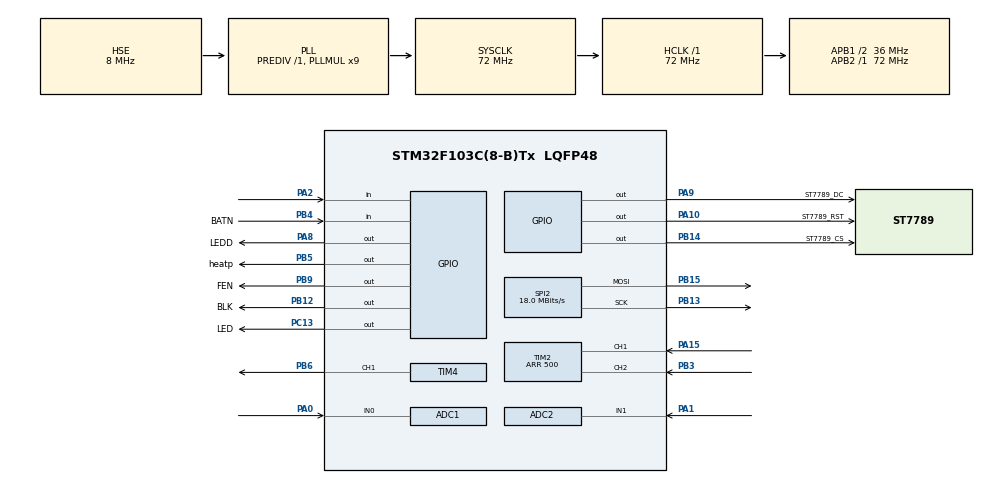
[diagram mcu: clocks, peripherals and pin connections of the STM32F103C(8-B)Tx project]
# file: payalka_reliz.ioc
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Mcu.Family=STM32F1
SPI2.VirtualType=VM_MASTER
ADC1.ContinuousConvMode=ENABLE
ADC2.Channel-0\#ChannelRegularConversion=ADC_CHANNEL_1
PA10.GPIO_PuPd=GPIO_PULLUP
PB14.GPIO_Label=ST7789_CS
TIM2.EncoderMode=TIM_ENCODERMODE_TI12
PB13.Signal=SPI2_SCK
PB15.Signal=SPI2_MOSI
RCC.SYSCLKSource=RCC_SYSCLKSOURCE_PLLCLK
ProjectManager.StackSize=0x400
PD1-OSC_OUT.Signal=RCC_OSC_OUT
PB4.GPIO_Mode=GPIO_MODE_INPUT
PA10.PinState=GPIO_PIN_RESET
RCC.HCLKFreq_Value=72000000
RCC.APB2TimFreq_Value=72000000
TIM4.Pulse-PWM\ Generation1\ CH1=0
PB6.Signal=S_TIM4_CH1
PB5.PinState=GPIO_PIN_SET
RCC.AHBFreq_Value=72000000
SPI2.BaudRatePrescaler=SPI_BAUDRATEPRESCALER_2
ADC1.Channel-0\#ChannelRegularConversion=ADC_CHANNEL_0
RCC.PLLMUL=RCC_PLL_MUL9
PB12.GPIO_Label=BLK
PC13-TAMPER-RTC.PinState=GPIO_PIN_SET
PA14.Mode=Serial_Wire
PA10.GPIO_Label=ST7789_RST
SPI2.CalculateBaudRate=18.0 MBits/s
PA8.Signal=GPIO_Output
SH.ADCx_IN0.0=ADC1_IN0,IN0
TIM4.Period=6000
ADC1.SamplingTime-0\#ChannelRegularConversion=ADC_SAMPLETIME_1CYCLE_5
Mcu.Package=LQFP48
PB9.Signal=GPIO_Output
PB14.GPIO_PuPd=GPIO_NOPULL
SPI2.Mode=SPI_MODE_MASTER
TIM2.IC1Polarity=TIM_ICPOLARITY_RISING
PA10.Signal=GPIO_Output
PA15.Signal=S_TIM2_CH1_ETR
ADC2.SamplingTime-0\#ChannelRegularConversion=ADC_SAMPLETIME_1CYCLE_5
PA10.GPIO_Speed=GPIO_SPEED_FREQ_HIGH
SH.ADCx_IN1.0=ADC2_IN1,IN1
PB5.GPIO_Label=heatp
SH.S_TIM4_CH1.0=TIM4_CH1,PWM Generation1 CH1
RCC.APB1TimFreq_Value=72000000
SPI2.Direction=SPI_DIRECTION_2LINES
PB13.Mode=TX_Only_Simplex_Unidirect_Master
ADC2.Rank-0\#ChannelRegularConversion=1
TIM2.IC1Prescaler=TIM_ICPSC_DIV1
PB4.Signal=GPIO_Input
RCC.PLLSourceVirtual=RCC_PLLSOURCE_HSE
TIM4.Channel-PWM\ Generation1\ CH1=TIM_CHANNEL_1
ADC1.Rank-0\#ChannelRegularConversion=1
PD1-OSC_OUT.Mode=HSE-External-Oscillator
TIM2.CounterMode=TIM_COUNTERMODE_UP
TIM4.CounterMode=TIM_COUNTERMODE_CENTERALIGNED3
PB9.GPIO_Label=FEN
TIM2.IC1Filter=15
PA9.GPIO_Label=ST7789_DC
PC13-TAMPER-RTC.Signal=GPIO_Output
PD0-OSC_IN.Signal=RCC_OSC_IN
RCC.APB1CLKDivider=RCC_HCLK_DIV2
PA9.GPIO_PuPd=GPIO_NOPULL
PA0-WKUP.Signal=ADCx_IN0
RCC.ADCPresc=RCC_ADCPCLK2_DIV6
PA13.Signal=SYS_JTMS-SWDIO
SH.S_TIM2_CH2.0=TIM2_CH2,Encoder_Interface
PA8.GPIO_Label=LEDD
PB14.PinState=GPIO_PIN_SET
ADC2.ContinuousConvMode=ENABLE
ProjectManager.TargetToolchain=STM32CubeIDE
PB14.GPIO_Speed=GPIO_SPEED_FREQ_HIGH
PA9.Signal=GPIO_Output
RCC.USBFreq_Value=72000000
TIM4.Prescaler=69
PA1.Signal=ADCx_IN1
PD0-OSC_IN.Mode=HSE-External-Oscillator
PB14.Signal=GPIO_Output
board=custom
PC13-TAMPER-RTC.GPIO_Label=LED
PB15.Mode=TX_Only_Simplex_Unidirect_Master
TIM2.IC2Polarity=TIM_ICPOLARITY_FALLING
RCC.APB2Freq_Value=72000000
PB4.GPIO_Label=BATN
TIM2.Period=500
PA13.Mode=Serial_Wire
Mcu.Name=STM32F103C(8-B)Tx
TIM4.OCPolarity_1=TIM_OCPOLARITY_LOW
PA2.Signal=GPIO_Input
PB3.Signal=S_TIM2_CH2
RCC.SYSCLKFreq_VALUE=72000000
PB5.Signal=GPIO_Output
ADC1.master=1
ADC2.NbrOfConversionFlag=1
SH.S_TIM2_CH1_ETR.0=TIM2_CH1,Encoder_Interface
PA14.Signal=SYS_JTCK-SWCLK
ProjectManager.HeapSize=0x200
NVIC.PriorityGroup=NVIC_PRIORITYGROUP_4
ADC1.NbrOfConversionFlag=1
TIM2.TIM_MasterSlaveMode=TIM_MASTERSLAVEMODE_DISABLE
PA9.GPIO_Speed=GPIO_SPEED_FREQ_HIGH
TIM2.AutoReloadPreload=TIM_AUTORELOAD_PRELOAD_DISABLE
RCC.APB1Freq_Value=36000000
PB12.Signal=GPIO_Output
TIM2.IC2Filter=15

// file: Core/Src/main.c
/* USER CODE BEGIN Header */
/**
  ******************************************************************************
  * @file           : main.c
  * @brief          : Main program body
  ******************************************************************************
  * @attention
  *
  * <h2><center>&copy; Copyright (c) 2021 STMicroelectronics.
  * All rights reserved.</center></h2>
  *
  * This software component is licensed by ST under BSD 3-Clause license,
  * the "License"; You may not use this file except in compliance with the
  * License. You may obtain a copy of the License at:
  *                        opensource.org/licenses/BSD-3-Clause
  *
  ******************************************************************************
  */
/* USER CODE END Header */
#include "main.h"

/* USER CODE BEGIN Includes */
#include "st7789.h"
#include "fonts.h"
#include "stdio.h"
/* USER CODE END Includes */

ADC_HandleTypeDef hadc1;
ADC_HandleTypeDef hadc2;

SPI_HandleTypeDef hspi2;

TIM_HandleTypeDef htim2;
TIM_HandleTypeDef htim4;

/* USER CODE BEGIN PV */
// НАСТРОЙК�? ОСНОВНІ //----------------------------
int color_tekst = YELLOW;//КОЛІР ТЕКСТУ
int setTemp = 320; //ЗАДАНА ТЕМПЕРАТУРА ПАЯЛЬН�?КА+ поправка
int maxTemp = 450;//МАКС�?МАЛЬНА ТЕМПЕРАТУРА ПАЯЛЬН�?КА
int minTemp = 100;//МІНІМАЛЬНА ТЕМПЕРАТУРА ПАЯЛЬН�?КА
int popravcaP=20;//4правка температури
int crocEncode = 5;//КРОК ЗМІН�? ТЕМПЕРАТУР�? ЗА 1 КРОК ЕНКОДЕРА
int setFen = 150;//ЗАДАНА ТЕМПЕРАТУРА ФЕНА
int maxFen = 400;//МАКС�?МАЛЬНА ТЕМПЕРАТУРА ФЕНА
int minFen = 50;//МІНІМАЛЬНА ТЕМПЕРАТУРА ФЕНА
int popravcaF=0;
int setAir = 50;
int minAir = 30;//мінімальга швидкість вентилятора
int EncRot = 1;//напрямок енкодера право = 1 , ліво = 0.
//ПЕРЕМІННІ//--------------------------------------
int EncVal;
void setPWM(uint16_t pwm_value);
//uint32_t adcResultn = 0;
float adcResult;
float adcResultf;
uint32_t i,d;
int32_t prevCounter = 0;//encoder
int32_t prevCounterz = 0;
int32_t currCounterz=0;
int32_t currCountern = 0;
uint32_t time_key1 = 0;
uint8_t short_state = 0;
uint8_t long_state = 0;
uint8_t menun=0;
uint8_t stopset=0;
uint8_t fanflag= 0;
uint8_t r = 0;
uint8_t set0 = 0;
uint8_t pflag = 0;
uint8_t flagfn = 0;
uint8_t culofn = 0;
uint8_t culoff = 0;

/* USER CODE END PV */

void SystemClock_Config(void);
static void MX_GPIO_Init(void);
static void MX_ADC1_Init(void);
static void MX_TIM2_Init(void);
static void MX_TIM4_Init(void);
static void MX_SPI2_Init(void);
static void MX_ADC2_Init(void);

/* USER CODE BEGIN 0 */
void mytftset(void){
     ST7789_WriteString(35, 5, "HEATER_TEMP", Font_16x26, GREEN, BLACK);
     ST7789_WriteString(60, 84, "FEN_TEMP", Font_16x26, color_tekst, BLACK);
     ST7789_WriteString(65, 140, "AIRFLOW", Font_16x26, color_tekst, BLACK);
    ST7789_DrawRectangle(2, 2, 237, 78, WHITE);
 	ST7789_DrawRectangle(1, 1, 238, 79, WHITE);
 	ST7789_DrawRectangle(0, 0, 239, 80, WHITE);

 	ST7789_DrawRectangle(0, 81, 239, 239, WHITE);
 	ST7789_DrawRectangle(1, 81, 238, 238, WHITE);
 	ST7789_DrawRectangle(2, 81, 237, 237, WHITE);

    HAL_GPIO_WritePin(BLK_GPIO_Port, BLK_Pin,GPIO_PIN_SET);
}

void encoder(void) {
	if(set0==1){
		TIM2->CNT = 0;
    	set0=0;
    }
    int32_t currCounter = TIM2->CNT;

    if(currCounter != prevCounter) {
    	 prevCounter = currCounter;
    	 stopset = 1;
    if(menun==0){//паяльника температура
    currCounter=(currCounter + minTemp)/crocEncode;
    currCounter=currCounter*crocEncode;
    if(currCounter>maxTemp){
    	set0 = 1;
        }
    setTemp= currCounter + popravcaP;
	 char buff[16];
	 snprintf(buff, sizeof(buff), "%d", currCounter);
	 ST7789_WriteString(90, 35, buff ,Font_16x26, color_tekst, BLACK);

    }
    if(menun==1){//Фена температура

    currCounter=(currCounter + minFen)/crocEncode;
    currCounter=currCounter*crocEncode;
    if(currCounter>maxFen){
    	set0 = 1;
    }
    setFen= currCounter + popravcaF;
    char buff[16];
   	 snprintf(buff, sizeof(buff), "%d*C", currCounter);
   	 ST7789_WriteString(90, 115, buff ,Font_16x26, color_tekst, BLACK);
   	  if(setFen<99)ST7789_DrawFilledRectangle(90+16*4, 115,16,26,BLACK);//BLACK
    }
    if(menun==2 && fanflag==1){//Фена поток
        currCounter=(currCounter + minAir)/crocEncode;
        currCounter=currCounter*crocEncode;
        if(currCounter>100){
           set0=1;
           }
       // if(currCounter<30)
        setAir = currCounter;
       setPWM(setAir);
        char buff[16];
       	 snprintf(buff, sizeof(buff), "%d ", currCounter);
       	 ST7789_WriteString(90, 175, buff ,Font_16x26, color_tekst, BLACK);
        }
   // currCounterz = currCounter;
    }
    //BATN
    uint32_t ms = HAL_GetTick();
    uint8_t key1_state = HAL_GPIO_ReadPin(BATN_GPIO_Port, BATN_Pin); // подставить свой пин

    if(key1_state == 0 && !short_state && (ms - time_key1) > 50)
    {
      short_state = 1;
      long_state = 0;
      time_key1 = ms;
    }
    else if(key1_state == 0 && !long_state && (ms - time_key1) > 400)
    {
      long_state = 1;
     // действие на длинное нажатие
     if(menun==0){

    	 if(pflag==1){
    		 pflag=0;
    		 ST7789_DrawRectangle(1, 1, 238, 79, WHITE);
    		 ST7789_DrawRectangle(0, 0, 238, 80, WHITE);
    		 ST7789_DrawRectangle(2, 2, 237, 78, WHITE);
    	 }
    	 else {
    		 pflag=1;
    		 ST7789_DrawRectangle(1, 1, 238, 79, myred);
    		 ST7789_DrawRectangle(0, 0, 238, 80, MAGENTA);
    		 ST7789_DrawRectangle(2, 2, 237, 78, myred);
    	 }
     }
     if(menun==1 || menun==2){
    	 if(fanflag==1){
    		 fanflag=0;
    		 	ST7789_DrawRectangle(1, 81, 238, 238, WHITE);
    		 	ST7789_DrawRectangle(0, 81, 239, 239, WHITE);
    		 	ST7789_DrawRectangle(2, 81, 237, 237, WHITE);
    	 }
    	 else{
    		 fanflag=1;
    		 	ST7789_DrawRectangle(1, 81, 238, 238, myred);
    		 	ST7789_DrawRectangle(0, 81, 239, 239, myred);
    		 	ST7789_DrawRectangle(2, 81, 237, 237, myred);
    	 }
     }
    }
    else if(key1_state == 1 && short_state && (ms - time_key1) > 50)
    {
      short_state = 0;
      time_key1 = ms;

      if(!long_state)
      {
    menun++;
    if (menun==3)menun=0; // действие на короткое нажатие

    if(menun==0){
    	ST7789_WriteString(35, 5, "HEATER_TEMP", Font_16x26, GREEN, BLACK);
    	ST7789_WriteString(60, 84, "FEN_TEMP", Font_16x26, color_tekst, BLACK);
    	ST7789_WriteString(65, 140, "AIRFLOW", Font_16x26, color_tekst, BLACK);
    }
	if(menun==1){
		 ST7789_WriteString(35, 5, "HEATER_TEMP", Font_16x26, color_tekst, BLACK);
		 ST7789_WriteString(60, 84, "FEN_TEMP", Font_16x26, GREEN, BLACK);
		 ST7789_WriteString(65, 140, "AIRFLOW", Font_16x26, color_tekst, BLACK);
	 }
	 if(menun==2){
		 ST7789_WriteString(35, 5, "HEATER_TEMP", Font_16x26, color_tekst, BLACK);
		 ST7789_WriteString(60, 84, "FEN_TEMP", Font_16x26, color_tekst, BLACK);
		 ST7789_WriteString(65, 140, "AIRFLOW", Font_16x26, GREEN, BLACK);
	 }

      }
    }
}

void TermoControl(void){
if(pflag==1){
if(setTemp<=adcResult){//нгрів паяльник
	HAL_GPIO_WritePin(heatp_GPIO_Port, heatp_Pin,GPIO_PIN_SET);//pb5
	HAL_GPIO_WritePin(LEDD_GPIO_Port, LEDD_Pin,GPIO_PIN_RESET);//pa8
}
else {
	HAL_GPIO_WritePin(heatp_GPIO_Port, heatp_Pin,GPIO_PIN_RESET);
HAL_GPIO_WritePin(LEDD_GPIO_Port, LEDD_Pin,GPIO_PIN_SET);
}
}
if (pflag==0){
	HAL_GPIO_WritePin(heatp_GPIO_Port, heatp_Pin,GPIO_PIN_SET);//pb5
	HAL_GPIO_WritePin(LEDD_GPIO_Port, LEDD_Pin,GPIO_PIN_RESET);//pa8
}
//uint8_t culoff = 0;
if (fanflag==0){
	fenreset();
	flagfn=0;
	if(adcResultf>(minFen+30)){
		uint8_t flagfn=1;
		if(flagfn != culofn){
		culofn=flagfn;
		setAir=100;
		setPWM(setAir);
		}
	}

if(adcResultf<(minFen+20)){
	uint8_t flagff=1;
	  if(flagff != culoff) {
	culoff=flagff;
		setAir=0;
	setPWM(setAir);
	//culoff=0;
	  }

}}
if (fanflag==1){
	culoff=0;
	culofn=0;
	uint8_t flagf=1;
	if(flagf != flagfn){
	flagfn=flagf;
	setAir=50;
    setPWM(setAir);
	}
if(setFen<=adcResultf){//агрів фену !!!220V!!!
fenreset();
	}
else{

	HAL_GPIO_WritePin(FEN_GPIO_Port, FEN_Pin,GPIO_PIN_SET);
	HAL_GPIO_WritePin(LED_GPIO_Port, LED_Pin,GPIO_PIN_RESET);
}}
}

void fenreset(){
		HAL_GPIO_WritePin(FEN_GPIO_Port, FEN_Pin,GPIO_PIN_RESET);//pb9
	HAL_GPIO_WritePin(LED_GPIO_Port, LED_Pin,GPIO_PIN_SET);//pc13
}

void setPWM(uint16_t value)
{
    int set = (6000*value)/100;
    TIM4->CCR1 = set;
}

void menu(void){
	if(stopset==0){//паяльника температура
	    if(adcResult<600){
		char buf[128];
		sprintf(buf, "%d*C ", ((uint32_t)adcResult-popravcaP));//
		ST7789_WriteString(90, 35, buf ,Font_16x26, color_tekst, BLACK);
	    }
		if(adcResult>600){
			ST7789_WriteString(90, 35, "NO   " ,Font_16x26, RED, BLACK);
			HAL_GPIO_WritePin(heatp_GPIO_Port, heatp_Pin,GPIO_PIN_RESET);
	    }
	}
	if(stopset==0){//Фена температура
		if(adcResultf<600){
		char buff[128];
		sprintf(buff, "%d*C ", ((uint32_t)adcResultf-popravcaF));//
		ST7789_WriteString(90, 115, buff ,Font_16x26, color_tekst, BLACK);
		}
		if(adcResultf>600){
		    ST7789_WriteString(90, 115, "NO   " ,Font_16x26, RED, BLACK);
		    HAL_GPIO_WritePin(FEN_GPIO_Port, FEN_Pin,GPIO_PIN_RESET);
		}

	}
	if(stopset==0){//поток повітря фена
        char buff[16];
       	 snprintf(buff, sizeof(buff), "%d", setAir);
       	 ST7789_DrawFilledRectangle(90+16, 175,48-16,26,BLACK);//BLACK
       	 ST7789_WriteString(90, 175, buff ,Font_16x26, color_tekst, BLACK);

	}
}

/* USER CODE END 0 */

int main(void)
{

  /* MCU Configuration--------------------------------------------------------*/

  /* Reset of all peripherals, Initializes the Flash interface and the Systick. */
  HAL_Init();

  /* Configure the system clock */
  SystemClock_Config();

  /* Initialize all configured peripherals */
  MX_GPIO_Init();
  MX_ADC1_Init();
  MX_TIM2_Init();
  MX_TIM4_Init();
  MX_SPI2_Init();
  MX_ADC2_Init();
  /* USER CODE BEGIN 2 */
  ST7789_Init();

  mytftset();
  HAL_TIM_Encoder_Start(&htim2, TIM_CHANNEL_ALL);
  HAL_TIM_PWM_Start_IT(&htim4, TIM_CHANNEL_1);
  setPWM(0);
 // HAL_GPIO_WritePin(CUL_GPIO_Port, CUL_Pin,GPIO_PIN_SET);//pb5
 // HAL_TIM_PWM_Start(&htim4, TIM_CHANNEL_1);//TIM_CHANNEL_1
  /* USER CODE END 2 */

  /* Infinite loop */
  /* USER CODE BEGIN WHILE */
  while (1)
  {

	  //if(d==10000||d==20000||d==40000||d==50000||d==60000){
      HAL_ADC_Start(&hadc1);
      HAL_ADC_PollForConversion(&hadc1, 100);
      int adcResultn = HAL_ADC_GetValue(&hadc1);
      HAL_ADC_Stop(&hadc1);
      adcResult = ((adcResultn*((3.274/4096)*4))*100)-popravcaP;//(4096*5)

      HAL_ADC_Start(&hadc2);
      HAL_ADC_PollForConversion(&hadc2, 100);
      int adcResultn1 = HAL_ADC_GetValue(&hadc2);
      HAL_ADC_Stop(&hadc2);
      adcResultf = ((adcResultn1*((3.274/4096)*4))*100)-popravcaF;//дільник 4 після заміни резисторів

      if(d==9000||d==19000||d==29000){
	  menu();
      }
	  encoder();
	  //setPWM(setAir);
//  setpwm();
	//  encoderinit();
	  if(d==30000){
		stopset=0;
		d=0;
	  }
	  TermoControl();
    	  d++;
    	  if(i==60000)i=0;
    /* USER CODE END WHILE */

  }
}

void SystemClock_Config(void)
{
  RCC_OscInitTypeDef RCC_OscInitStruct = {0};
  RCC_ClkInitTypeDef RCC_ClkInitStruct = {0};
  RCC_PeriphCLKInitTypeDef PeriphClkInit = {0};

  /** Initializes the RCC Oscillators according to the specified parameters
  * in the RCC_OscInitTypeDef structure.
  */
  RCC_OscInitStruct.OscillatorType = RCC_OSCILLATORTYPE_HSE;
  RCC_OscInitStruct.HSEState = RCC_HSE_ON;
  RCC_OscInitStruct.HSEPredivValue = RCC_HSE_PREDIV_DIV1;
  RCC_OscInitStruct.HSIState = RCC_HSI_ON;
  RCC_OscInitStruct.PLL.PLLState = RCC_PLL_ON;
  RCC_OscInitStruct.PLL.PLLSource = RCC_PLLSOURCE_HSE;
  RCC_OscInitStruct.PLL.PLLMUL = RCC_PLL_MUL9;
  if (HAL_RCC_OscConfig(&RCC_OscInitStruct) != HAL_OK)
  {
    Error_Handler();
  }
  /** Initializes the CPU, AHB and APB buses clocks
  */
  RCC_ClkInitStruct.ClockType = RCC_CLOCKTYPE_HCLK|RCC_CLOCKTYPE_SYSCLK
                              |RCC_CLOCKTYPE_PCLK1|RCC_CLOCKTYPE_PCLK2;
  RCC_ClkInitStruct.SYSCLKSource = RCC_SYSCLKSOURCE_PLLCLK;
  RCC_ClkInitStruct.AHBCLKDivider = RCC_SYSCLK_DIV1;
  RCC_ClkInitStruct.APB1CLKDivider = RCC_HCLK_DIV2;
  RCC_ClkInitStruct.APB2CLKDivider = RCC_HCLK_DIV1;

  if (HAL_RCC_ClockConfig(&RCC_ClkInitStruct, FLASH_LATENCY_2) != HAL_OK)
  {
    Error_Handler();
  }
  PeriphClkInit.PeriphClockSelection = RCC_PERIPHCLK_ADC;
  PeriphClkInit.AdcClockSelection = RCC_ADCPCLK2_DIV6;
  if (HAL_RCCEx_PeriphCLKConfig(&PeriphClkInit) != HAL_OK)
  {
    Error_Handler();
  }
}

static void MX_ADC1_Init(void)
{

  ADC_ChannelConfTypeDef sConfig = {0};

  /** Common config
  */
  hadc1.Instance = ADC1;
  hadc1.Init.ScanConvMode = ADC_SCAN_DISABLE;
  hadc1.Init.ContinuousConvMode = ENABLE;
  hadc1.Init.DiscontinuousConvMode = DISABLE;
  hadc1.Init.ExternalTrigConv = ADC_SOFTWARE_START;
  hadc1.Init.DataAlign = ADC_DATAALIGN_RIGHT;
  hadc1.Init.NbrOfConversion = 1;
  if (HAL_ADC_Init(&hadc1) != HAL_OK)
  {
    Error_Handler();
  }
  /** Configure Regular Channel
  */
  sConfig.Channel = ADC_CHANNEL_0;
  sConfig.Rank = ADC_REGULAR_RANK_1;
  sConfig.SamplingTime = ADC_SAMPLETIME_1CYCLE_5;
  if (HAL_ADC_ConfigChannel(&hadc1, &sConfig) != HAL_OK)
  {
    Error_Handler();
  }

}

static void MX_ADC2_Init(void)
{

  ADC_ChannelConfTypeDef sConfig = {0};

  /** Common config
  */
  hadc2.Instance = ADC2;
  hadc2.Init.ScanConvMode = ADC_SCAN_DISABLE;
  hadc2.Init.ContinuousConvMode = ENABLE;
  hadc2.Init.DiscontinuousConvMode = DISABLE;
  hadc2.Init.ExternalTrigConv = ADC_SOFTWARE_START;
  hadc2.Init.DataAlign = ADC_DATAALIGN_RIGHT;
  hadc2.Init.NbrOfConversion = 1;
  if (HAL_ADC_Init(&hadc2) != HAL_OK)
  {
    Error_Handler();
  }
  /** Configure Regular Channel
  */
  sConfig.Channel = ADC_CHANNEL_1;
  sConfig.Rank = ADC_REGULAR_RANK_1;
  sConfig.SamplingTime = ADC_SAMPLETIME_1CYCLE_5;
  if (HAL_ADC_ConfigChannel(&hadc2, &sConfig) != HAL_OK)
  {
    Error_Handler();
  }

}

static void MX_SPI2_Init(void)
{

  /* SPI2 parameter configuration*/
  hspi2.Instance = SPI2;
  hspi2.Init.Mode = SPI_MODE_MASTER;
  hspi2.Init.Direction = SPI_DIRECTION_2LINES;
  hspi2.Init.DataSize = SPI_DATASIZE_8BIT;
  hspi2.Init.CLKPolarity = SPI_POLARITY_LOW;
  hspi2.Init.CLKPhase = SPI_PHASE_1EDGE;
  hspi2.Init.NSS = SPI_NSS_SOFT;
  hspi2.Init.BaudRatePrescaler = SPI_BAUDRATEPRESCALER_2;
  hspi2.Init.FirstBit = SPI_FIRSTBIT_MSB;
  hspi2.Init.TIMode = SPI_TIMODE_DISABLE;
  hspi2.Init.CRCCalculation = SPI_CRCCALCULATION_DISABLE;
  hspi2.Init.CRCPolynomial = 10;
  if (HAL_SPI_Init(&hspi2) != HAL_OK)
  {
    Error_Handler();
  }

}

static void MX_TIM2_Init(void)
{

  TIM_Encoder_InitTypeDef sConfig = {0};
  TIM_MasterConfigTypeDef sMasterConfig = {0};

  /* USER CODE BEGIN TIM2_Init 1 */
//  htim2.Init.Period = maxTemp-minTemp;

  /* USER CODE END TIM2_Init 1 */
  htim2.Instance = TIM2;
  htim2.Init.Prescaler = 0;
  htim2.Init.CounterMode = TIM_COUNTERMODE_UP;
  htim2.Init.Period = 500;
  htim2.Init.ClockDivision = TIM_CLOCKDIVISION_DIV1;
  htim2.Init.AutoReloadPreload = TIM_AUTORELOAD_PRELOAD_DISABLE;
  sConfig.EncoderMode = TIM_ENCODERMODE_TI12;
  if(EncRot==1){
  sConfig.IC1Polarity = TIM_ICPOLARITY_RISING;
  }
  if(EncRot==0){
  sConfig.IC1Polarity = TIM_ICPOLARITY_FALLING;
  }
  sConfig.IC1Selection = TIM_ICSELECTION_DIRECTTI;
  sConfig.IC1Prescaler = TIM_ICPSC_DIV1;
  sConfig.IC1Filter = 15;
  sConfig.IC2Polarity = TIM_ICPOLARITY_FALLING;
  sConfig.IC2Selection = TIM_ICSELECTION_DIRECTTI;
  sConfig.IC2Prescaler = TIM_ICPSC_DIV1;
  sConfig.IC2Filter = 15;
  if (HAL_TIM_Encoder_Init(&htim2, &sConfig) != HAL_OK)
  {
    Error_Handler();
  }
  sMasterConfig.MasterOutputTrigger = TIM_TRGO_RESET;
  sMasterConfig.MasterSlaveMode = TIM_MASTERSLAVEMODE_DISABLE;
  if (HAL_TIMEx_MasterConfigSynchronization(&htim2, &sMasterConfig) != HAL_OK)
  {
    Error_Handler();
  }

}

static void MX_TIM4_Init(void)
{

  TIM_MasterConfigTypeDef sMasterConfig = {0};
  TIM_OC_InitTypeDef sConfigOC = {0};

  htim4.Instance = TIM4;
  htim4.Init.Prescaler = 69;
  htim4.Init.CounterMode = TIM_COUNTERMODE_CENTERALIGNED3;
  htim4.Init.Period = 6000;
  htim4.Init.ClockDivision = TIM_CLOCKDIVISION_DIV1;
  htim4.Init.AutoReloadPreload = TIM_AUTORELOAD_PRELOAD_DISABLE;
  if (HAL_TIM_PWM_Init(&htim4) != HAL_OK)
  {
    Error_Handler();
  }
  sMasterConfig.MasterOutputTrigger = TIM_TRGO_RESET;
  sMasterConfig.MasterSlaveMode = TIM_MASTERSLAVEMODE_DISABLE;
  if (HAL_TIMEx_MasterConfigSynchronization(&htim4, &sMasterConfig) != HAL_OK)
  {
    Error_Handler();
  }
  sConfigOC.OCMode = TIM_OCMODE_PWM1;
  sConfigOC.Pulse = 0;
  sConfigOC.OCPolarity = TIM_OCPOLARITY_LOW;
  sConfigOC.OCFastMode = TIM_OCFAST_DISABLE;
  if (HAL_TIM_PWM_ConfigChannel(&htim4, &sConfigOC, TIM_CHANNEL_1) != HAL_OK)
  {
    Error_Handler();
  }
  HAL_TIM_MspPostInit(&htim4);

}

static void MX_GPIO_Init(void)
{
  GPIO_InitTypeDef GPIO_InitStruct = {0};

  /* GPIO Ports Clock Enable */
  __HAL_RCC_GPIOC_CLK_ENABLE();
  __HAL_RCC_GPIOD_CLK_ENABLE();
  __HAL_RCC_GPIOA_CLK_ENABLE();
  __HAL_RCC_GPIOB_CLK_ENABLE();

  /*Configure GPIO pin Output Level */
  HAL_GPIO_WritePin(LED_GPIO_Port, LED_Pin, GPIO_PIN_SET);

  /*Configure GPIO pin Output Level */
  HAL_GPIO_WritePin(GPIOB, BLK_Pin|FEN_Pin, GPIO_PIN_RESET);

  /*Configure GPIO pin Output Level */
  HAL_GPIO_WritePin(GPIOB, ST7789_CS_Pin|heatp_Pin, GPIO_PIN_SET);

  /*Configure GPIO pin Output Level */
  HAL_GPIO_WritePin(GPIOA, LEDD_Pin|ST7789_DC_Pin|ST7789_RST_Pin, GPIO_PIN_RESET);

  /*Configure GPIO pin : LED_Pin */
  GPIO_InitStruct.Pin = LED_Pin;
  GPIO_InitStruct.Mode = GPIO_MODE_OUTPUT_PP;
  GPIO_InitStruct.Pull = GPIO_NOPULL;
  GPIO_InitStruct.Speed = GPIO_SPEED_FREQ_LOW;
  HAL_GPIO_Init(LED_GPIO_Port, &GPIO_InitStruct);

  /*Configure GPIO pin : PA2 */
  GPIO_InitStruct.Pin = GPIO_PIN_2;
  GPIO_InitStruct.Mode = GPIO_MODE_INPUT;
  GPIO_InitStruct.Pull = GPIO_NOPULL;
  HAL_GPIO_Init(GPIOA, &GPIO_InitStruct);

  /*Configure GPIO pins : BLK_Pin heatp_Pin FEN_Pin */
  GPIO_InitStruct.Pin = BLK_Pin|heatp_Pin|FEN_Pin;
  GPIO_InitStruct.Mode = GPIO_MODE_OUTPUT_PP;
  GPIO_InitStruct.Pull = GPIO_NOPULL;
  GPIO_InitStruct.Speed = GPIO_SPEED_FREQ_LOW;
  HAL_GPIO_Init(GPIOB, &GPIO_InitStruct);

  /*Configure GPIO pin : ST7789_CS_Pin */
  GPIO_InitStruct.Pin = ST7789_CS_Pin;
  GPIO_InitStruct.Mode = GPIO_MODE_OUTPUT_PP;
  GPIO_InitStruct.Pull = GPIO_NOPULL;
  GPIO_InitStruct.Speed = GPIO_SPEED_FREQ_HIGH;
  HAL_GPIO_Init(ST7789_CS_GPIO_Port, &GPIO_InitStruct);

  /*Configure GPIO pin : LEDD_Pin */
  GPIO_InitStruct.Pin = LEDD_Pin;
  GPIO_InitStruct.Mode = GPIO_MODE_OUTPUT_PP;
  GPIO_InitStruct.Pull = GPIO_NOPULL;
  GPIO_InitStruct.Speed = GPIO_SPEED_FREQ_LOW;
  HAL_GPIO_Init(LEDD_GPIO_Port, &GPIO_InitStruct);

  /*Configure GPIO pin : ST7789_DC_Pin */
  GPIO_InitStruct.Pin = ST7789_DC_Pin;
  GPIO_InitStruct.Mode = GPIO_MODE_OUTPUT_PP;
  GPIO_InitStruct.Pull = GPIO_NOPULL;
  GPIO_InitStruct.Speed = GPIO_SPEED_FREQ_HIGH;
  HAL_GPIO_Init(ST7789_DC_GPIO_Port, &GPIO_InitStruct);

  /*Configure GPIO pin : ST7789_RST_Pin */
  GPIO_InitStruct.Pin = ST7789_RST_Pin;
  GPIO_InitStruct.Mode = GPIO_MODE_OUTPUT_PP;
  GPIO_InitStruct.Pull = GPIO_PULLUP;
  GPIO_InitStruct.Speed = GPIO_SPEED_FREQ_HIGH;
  HAL_GPIO_Init(ST7789_RST_GPIO_Port, &GPIO_InitStruct);

  /*Configure GPIO pin : BATN_Pin */
  GPIO_InitStruct.Pin = BATN_Pin;
  GPIO_InitStruct.Mode = GPIO_MODE_INPUT;
  GPIO_InitStruct.Pull = GPIO_NOPULL;
  HAL_GPIO_Init(BATN_GPIO_Port, &GPIO_InitStruct);

}

void Error_Handler(void)
{
  __disable_irq();
  while (1)
  {
  }
}

/************************ (C) COPYRIGHT STMicroelectronics *****END OF FILE****/
